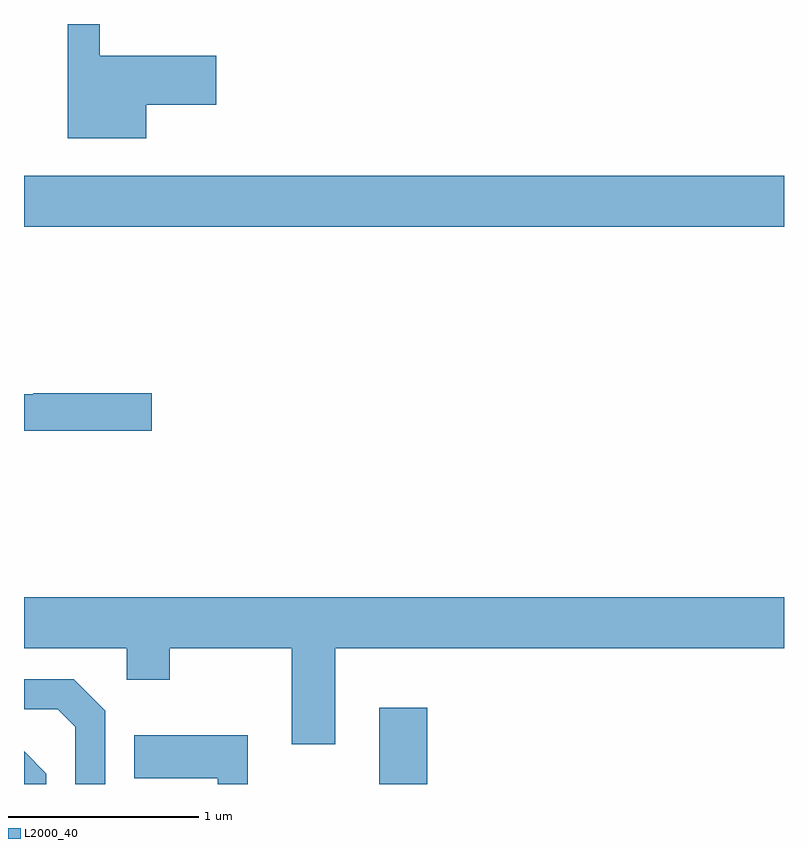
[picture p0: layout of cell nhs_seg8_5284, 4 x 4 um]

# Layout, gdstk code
import gdstk
lib = gdstk.Library(unit=1e-6, precision=1e-09)
def R(c, l, rs):  # rectangles x0, y0, x1, y1
    for r in rs: c.add(gdstk.rectangle(r[:2], r[2:], *l))
def P(c, l, *ps):  # polygons
    for p in ps: c.add(gdstk.Polygon(p, *l))
L2000_40 = (2000, 40)

nhs_seg8_5284 = lib.new_cell('nhs_seg8_5284')
R(nhs_seg8_5284, L2000_40, [(345.481,1862.342,345.734,1862.744), (343.611,1865.276,347.611,1865.544)])
P(nhs_seg8_5284, L2000_40, [(344.254,1865.916),(344.624,1865.916),(344.624,1866.174),(344.009,1866.174),(344.009,1866.342),(343.841,1866.342),(343.841,1865.741),(344.254,1865.741)],
  [(344.284,1864.399),(343.66,1864.399),(343.66,1864.394),(343.611,1864.394),(343.611,1864.201),(344.284,1864.201)],
  [(345.249,1863.056),(347.611,1863.056),(347.611,1863.324),(343.611,1863.324),(343.611,1863.056),(344.151,1863.056),(344.151,1862.891),(344.379,1862.891),(344.379,1863.056),(345.021,1863.056),(345.021,1862.551),(345.249,1862.551)],
  [(344.039,1862.727),(343.872,1862.894),(343.611,1862.894),(343.611,1862.736),(343.789,1862.736),(343.881,1862.644),(343.881,1862.342),(344.039,1862.342)],
  [(344.789,1862.599),(344.191,1862.599),(344.191,1862.371),(344.631,1862.371),(344.631,1862.342),(344.789,1862.342)],
  [(343.729,1862.397),(343.611,1862.515),(343.611,1862.342),(343.729,1862.342)])

lib.write_gds('nhs_seg8_5284.gds')
